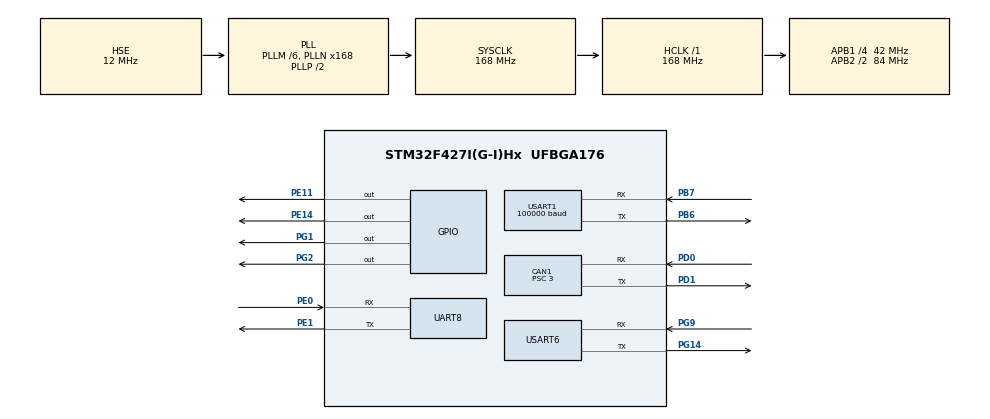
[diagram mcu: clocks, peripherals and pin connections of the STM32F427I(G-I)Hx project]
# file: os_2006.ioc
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CAN1.BS1=CAN_BS1_9TQ
CAN1.BS2=CAN_BS2_4TQ
CAN1.CalculateTimeQuantum=71.42857142857143
CAN1.Prescaler=3
Dma.Request0=USART1_RX
Dma.USART1_RX.0.Direction=DMA_PERIPH_TO_MEMORY
Dma.USART1_RX.0.FIFOMode=DMA_FIFOMODE_DISABLE
Dma.USART1_RX.0.Instance=DMA2_Stream2
Dma.USART1_RX.0.MemDataAlignment=DMA_MDATAALIGN_BYTE
Dma.USART1_RX.0.MemInc=DMA_MINC_ENABLE
Dma.USART1_RX.0.Mode=DMA_CIRCULAR
Dma.USART1_RX.0.PeriphDataAlignment=DMA_PDATAALIGN_BYTE
Dma.USART1_RX.0.PeriphInc=DMA_PINC_DISABLE
Dma.USART1_RX.0.Priority=DMA_PRIORITY_LOW
FREERTOS.Tasks01=defaultTask,-3,128,StartDefaultTask,Default,NULL,Dynamic,NULL,NULL;my2060Task1,-3,128,Start2060Task1,Default,NULL,Dynamic,NULL,NULL;my2060Task2,-3,128,Start2060Task2,Default,NULL,Dynamic,NULL,NULL
Mcu.Family=STM32F4
Mcu.Name=STM32F427I(G-I)Hx
Mcu.Package=UFBGA176
NVIC.CAN1_RX0_IRQn=true\:0\:0\:false\:false\:true\:true\:true\:true
NVIC.DMA2_Stream2_IRQn=true\:0\:0\:false\:false\:true\:true\:false\:true
NVIC.PriorityGroup=NVIC_PRIORITYGROUP_2
NVIC.TIM1_BRK_TIM9_IRQn=true\:0\:0\:false\:false\:true\:false\:false\:true
NVIC.TimeBase=TIM1_BRK_TIM9_IRQn
NVIC.TimeBaseIP=TIM9
NVIC.USART1_IRQn=true\:0\:0\:false\:false\:true\:true\:true\:true
NVIC.USART6_IRQn=true\:0\:0\:false\:false\:true\:true\:true\:true
PB6.Mode=Asynchronous
PB6.Signal=USART1_TX
PB7.Mode=Asynchronous
PB7.Signal=USART1_RX
PD0.Mode=Master
PD0.Signal=CAN1_RX
PD1.Mode=Master
PD1.Signal=CAN1_TX
PE0.Mode=Asynchronous
PE0.Signal=UART8_RX
PE1.Mode=Asynchronous
PE1.Signal=UART8_TX
PE11.Signal=GPIO_Output
PE14.Signal=GPIO_Output
PG1.Signal=GPIO_Output
PG14.Mode=Asynchronous
PG14.Signal=USART6_TX
PG2.Signal=GPIO_Output
PG9.Mode=Asynchronous
PG9.Signal=USART6_RX
PH0/OSC_IN.Mode=HSE-External-Oscillator
PH0/OSC_IN.Signal=RCC_OSC_IN
PH1/OSC_OUT.Mode=HSE-External-Oscillator
PH1/OSC_OUT.Signal=RCC_OSC_OUT
ProjectManager.HeapSize=0x200
ProjectManager.StackSize=0x400
ProjectManager.TargetToolchain=MDK-ARM V5.27
RCC.48MHZClocksFreq_Value=84000000
RCC.AHBFreq_Value=168000000
RCC.APB1CLKDivider=RCC_HCLK_DIV4
RCC.APB1Freq_Value=42000000
RCC.APB1TimFreq_Value=84000000
RCC.APB2CLKDivider=RCC_HCLK_DIV2
RCC.APB2Freq_Value=84000000
RCC.APB2TimFreq_Value=168000000
RCC.CortexFreq_Value=168000000
RCC.HCLKFreq_Value=168000000
RCC.HSE_VALUE=12000000
RCC.HSI_VALUE=16000000
RCC.LSE_VALUE=32768
RCC.PLLM=6
RCC.PLLN=168
RCC.PLLSourceVirtual=RCC_PLLSOURCE_HSE
RCC.SYSCLKFreq_VALUE=168000000
RCC.SYSCLKSource=RCC_SYSCLKSOURCE_PLLCLK
RCC.VCOOutputFreq_Value=336000000
UART8.VirtualMode=Asynchronous
USART1.BaudRate=100000
USART1.Parity=PARITY_EVEN
USART1.VirtualMode=VM_ASYNC
USART6.VirtualMode=VM_ASYNC
VP_FREERTOS_VS_CMSIS_V1.Mode=CMSIS_V1
VP_SYS_VS_tim9.Mode=TIM9
board=custom

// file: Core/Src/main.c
/* USER CODE BEGIN Header */
/**
  ******************************************************************************
  * @file           : main.c
  * @brief          : Main program body
  ******************************************************************************
  * @attention
  *
  * <h2><center>&copy; Copyright (c) 2020 STMicroelectronics.
  * All rights reserved.</center></h2>
  *
  * This software component is licensed by ST under Ultimate Liberty license
  * SLA0044, the "License"; You may not use this file except in compliance with
  * the License. You may obtain a copy of the License at:
  *                             www.st.com/SLA0044
  *
  ******************************************************************************
  */
/* USER CODE END Header */
#include "main.h"
#include "cmsis_os.h"
#include "can.h"
#include "dma.h"
#include "usart.h"
#include "gpio.h"

/* USER CODE BEGIN Includes */
#include "bsp_can.h"
#include "bsp_rc.h"
#include "stdio.h"
#include "pid.h"
#include "freertos.h"
#include "bsp_imu_data_decode.h"
#include "bsp_packet.h"

/* USER CODE END Includes */

/* USER CODE BEGIN PTD */

pid_struct_t motor_pid2_6020 = {0}; //6020旋转角度PID
pid_struct_t motor_pid4_6020 = {0}; //6020旋转角度PID
pid_struct_t motor_pid1_6623 = {0}; //6020旋转角度PID
pid_struct_t motor_pid2_6623 = {0}; //6020旋转角度PID

extern uint8_t ch;  //串口6接收陀螺仪数据中断

/* USER CODE END PTD */

void SystemClock_Config(void);
void MX_FREERTOS_Init(void);

int main(void)
{

  /* MCU Configuration--------------------------------------------------------*/

  /* Reset of all peripherals, Initializes the Flash interface and the Systick. */
  HAL_Init();

  /* Configure the system clock */
  SystemClock_Config();

  /* Initialize all configured peripherals */
  MX_GPIO_Init();
  MX_DMA_Init();
  MX_USART6_UART_Init();
  MX_USART1_UART_Init();
  MX_CAN1_Init();
  MX_UART8_Init();
  /* USER CODE BEGIN 2 */
  can_user_init(&hcan1);
  dbus_uart_init();
  imu_data_decode_init();                       //映射解析函数
  HAL_UART_Receive_IT(&huart6,&ch,sizeof(ch));  //初始化串口接收中断

  //初始化PID'
    pid_init(&motor_pid2_6020, 420, 0, 0, 30000, 30000);
	pid_init(&motor_pid4_6020, 55, 0, 0, 30000, 30000);

	pid_init(&motor_pid1_6623, 220, 0, 0, 5000, 5000);
	pid_init(&motor_pid2_6623, 125, 0, 0, 1000, 5000);
  /* USER CODE END 2 */

  /* Call init function for freertos objects (in freertos.c) */
  MX_FREERTOS_Init();
  /* Start scheduler */
  osKernelStart();

  /* We should never get here as control is now taken by the scheduler */
  /* Infinite loop */
  while (1)
  {

  }
}

void SystemClock_Config(void)
{
  RCC_OscInitTypeDef RCC_OscInitStruct = {0};
  RCC_ClkInitTypeDef RCC_ClkInitStruct = {0};

  /** Configure the main internal regulator output voltage
  */
  __HAL_RCC_PWR_CLK_ENABLE();
  __HAL_PWR_VOLTAGESCALING_CONFIG(PWR_REGULATOR_VOLTAGE_SCALE1);
  /** Initializes the RCC Oscillators according to the specified parameters
  * in the RCC_OscInitTypeDef structure.
  */
  RCC_OscInitStruct.OscillatorType = RCC_OSCILLATORTYPE_HSE;
  RCC_OscInitStruct.HSEState = RCC_HSE_ON;
  RCC_OscInitStruct.PLL.PLLState = RCC_PLL_ON;
  RCC_OscInitStruct.PLL.PLLSource = RCC_PLLSOURCE_HSE;
  RCC_OscInitStruct.PLL.PLLM = 6;
  RCC_OscInitStruct.PLL.PLLN = 168;
  RCC_OscInitStruct.PLL.PLLP = RCC_PLLP_DIV2;
  RCC_OscInitStruct.PLL.PLLQ = 4;
  if (HAL_RCC_OscConfig(&RCC_OscInitStruct) != HAL_OK)
  {
    Error_Handler();
  }
  /** Initializes the CPU, AHB and APB buses clocks
  */
  RCC_ClkInitStruct.ClockType = RCC_CLOCKTYPE_HCLK|RCC_CLOCKTYPE_SYSCLK
                              |RCC_CLOCKTYPE_PCLK1|RCC_CLOCKTYPE_PCLK2;
  RCC_ClkInitStruct.SYSCLKSource = RCC_SYSCLKSOURCE_PLLCLK;
  RCC_ClkInitStruct.AHBCLKDivider = RCC_SYSCLK_DIV1;
  RCC_ClkInitStruct.APB1CLKDivider = RCC_HCLK_DIV4;
  RCC_ClkInitStruct.APB2CLKDivider = RCC_HCLK_DIV2;

  if (HAL_RCC_ClockConfig(&RCC_ClkInitStruct, FLASH_LATENCY_5) != HAL_OK)
  {
    Error_Handler();
  }
}

void HAL_TIM_PeriodElapsedCallback(TIM_HandleTypeDef *htim)
{
  if (htim->Instance == TIM9) {
    HAL_IncTick();
  }
}

void Error_Handler(void)
{
}

/************************ (C) COPYRIGHT STMicroelectronics *****END OF FILE****/

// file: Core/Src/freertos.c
/* USER CODE BEGIN Header */
/**
  ******************************************************************************
  * File Name          : freertos.c
  * Description        : Code for freertos applications
  ******************************************************************************
  * @attention
  *
  * <h2><center>&copy; Copyright (c) 2020 STMicroelectronics.
  * All rights reserved.</center></h2>
  *
  * This software component is licensed by ST under Ultimate Liberty license
  * SLA0044, the "License"; You may not use this file except in compliance with
  * the License. You may obtain a copy of the License at:
  *                             www.st.com/SLA0044
  *
  ******************************************************************************
  */
/* USER CODE END Header */

#include "FreeRTOS.h"
#include "task.h"
#include "main.h"
#include "cmsis_os.h"

/* USER CODE BEGIN Includes */
#include "stdio.h"
#include "bsp_can.h"
#include "bsp_rc.h"
#include "pid.h"

/* USER CODE END Includes */

/* USER CODE BEGIN PTD */

extern UART_HandleTypeDef huart8;
extern UART_HandleTypeDef huart6;

extern rc_info_t rc;
char buf[200];

extern pid_struct_t motor_pid2_6020; //6020旋转角度PID
extern pid_struct_t motor_pid4_6020; //6020旋转角度PID
extern pid_struct_t motor_pid1_6623; //6623旋转角度PID
extern pid_struct_t motor_pid2_6623; //6623旋转角度PID

float target_angle_yaw_6020   = 0.0f; //云台角度
float target_angle_pitch_6020 = 0.0f;
float target_angle_yaw_6623   = 200.0f; //云台角度
float target_angle_pitch_6623 = 180.0f;

extern moto_info_6623 motor_info_6623_1;
extern moto_info_6623 motor_info_6623_2;
extern moto_info_6020 motor_info_6020_4;
extern moto_info_6020 motor_info_6020_2;

extern float roll_angle_gyroscope;
extern float pitch_angle_gyroscope;
extern float yaw_angle_gyroscope;

/* USER CODE END PTD */

osThreadId defaultTaskHandle;
osThreadId my2060Task1Handle;
osThreadId my2060Task2Handle;

void StartDefaultTask(void const * argument);
void Start2060Task1(void const * argument);
void Start2060Task2(void const * argument);

void MX_FREERTOS_Init(void); /* (MISRA C 2004 rule 8.1) */

/* GetIdleTaskMemory prototype (linked to static allocation support) */
void vApplicationGetIdleTaskMemory( StaticTask_t **ppxIdleTaskTCBBuffer, StackType_t **ppxIdleTaskStackBuffer, uint32_t *pulIdleTaskStackSize );

/* USER CODE BEGIN GET_IDLE_TASK_MEMORY */
static StaticTask_t xIdleTaskTCBBuffer;
static StackType_t xIdleStack[configMINIMAL_STACK_SIZE];

void vApplicationGetIdleTaskMemory( StaticTask_t **ppxIdleTaskTCBBuffer, StackType_t **ppxIdleTaskStackBuffer, uint32_t *pulIdleTaskStackSize )
{
  *ppxIdleTaskTCBBuffer = &xIdleTaskTCBBuffer;
  *ppxIdleTaskStackBuffer = &xIdleStack[0];
  *pulIdleTaskStackSize = configMINIMAL_STACK_SIZE;
  /* place for user code */
}
/* USER CODE END GET_IDLE_TASK_MEMORY */

void MX_FREERTOS_Init(void) {

  /* Create the thread(s) */
  /* definition and creation of defaultTask */
  osThreadDef(defaultTask, StartDefaultTask, osPriorityIdle, 0, 128);
  defaultTaskHandle = osThreadCreate(osThread(defaultTask), NULL);

  /* definition and creation of my2060Task1 */
  osThreadDef(my2060Task1, Start2060Task1, osPriorityIdle, 0, 128);
  my2060Task1Handle = osThreadCreate(osThread(my2060Task1), NULL);

  /* definition and creation of my2060Task2 */
  osThreadDef(my2060Task2, Start2060Task2, osPriorityIdle, 0, 128);
  my2060Task2Handle = osThreadCreate(osThread(my2060Task2), NULL);

}

void StartDefaultTask(void const * argument)
{
  /* USER CODE BEGIN StartDefaultTask */
  /* Infinite loop */
  for(;;)
  {
	  sprintf(buf, "CH1: %4d  CH2: %4d  CH3: %4d  CH4: %4d  SW1: %1d  SW2: %1d \r\n", rc.ch1, rc.ch2, rc.ch3, rc.ch4, rc.sw1, rc.sw2);
	  HAL_UART_Transmit(&huart6, (uint8_t *)buf, (COUNTOF(buf) - 1), 55);

//	  printf("R:%4.2f  P:%4.2f  Y:%4.2f\r\n", roll_angle_gyroscope,  pitch_angle_gyroscope,  yaw_angle_gyroscope);

	  osDelay(5);
  }
  /* USER CODE END StartDefaultTask */
}

void Start2060Task1(void const * argument)
{
  /* USER CODE BEGIN Start2060Task1 */
  /* Infinite loop */
  for(;;)
  {

	  if(rc.sw1 == 1 && rc.sw2 == 1){
		  if(yaw_angle_gyroscope < 0){
			  yaw_angle_gyroscope = 360 + yaw_angle_gyroscope;
		  }
		  yaw_angle_gyroscope = yaw_angle_gyroscope>300 ? 300 : (yaw_angle_gyroscope<220 ? 220: yaw_angle_gyroscope);
		  motor_info_6623_1.set_current = pid_calc(&motor_pid1_6623, yaw_angle_gyroscope, motor_info_6623_1.rotor_angle);
		  set_motor_voltage(-motor_info_6623_1.set_current,0x0000,0x0000,0x0000);
	  }

	  /* 6623云台控制程序 */
//	  if(rc.sw1 == 1 && rc.sw2 == 1){
//
//		  target_angle_yaw_6623 += rc.ch1 * 0.0005;
//		  target_angle_yaw_6623 = target_angle_yaw_6623>300 ? 300 : (target_angle_yaw_6623<220 ? 220: target_angle_yaw_6623);
//		  motor_info_6623_1.set_current = pid_calc(&motor_pid1_6623, target_angle_yaw_6623, motor_info_6623_1.rotor_angle);
//
//		  target_angle_pitch_6623 += rc.ch4 *0.0005;
//		  target_angle_pitch_6623 = target_angle_pitch_6623>200 ? 200 :(target_angle_pitch_6623<160 ? 160 :target_angle_pitch_6623);
//		  motor_info_6623_2.set_current = pid_calc(&motor_pid2_6623, target_angle_pitch_6623, motor_info_6623_2.rotor_angle);
//
//		  //set_motor_voltage(0x0000,-motor_info_6623_2.set_current,0x0000,0x0000);
//		  set_motor_voltage(-motor_info_6623_1.set_current,-motor_info_6623_2.set_current,0x0000,0x0000);
//
//	  }

	  osDelay(5);
  }
  /* USER CODE END Start2060Task1 */
}

void Start2060Task2(void const * argument)
{
  /* USER CODE BEGIN Start2060Task2 */
  /* Infinite loop */
  for(;;)
  {
	/* 6020云台控制程序 */
//	  if(rc.sw1 == 1 && rc.sw2 == 1){
//
//		  target_angle_yaw_6020 += rc.ch1 * 0.005;
//		  target_angle_yaw_6020 = target_angle_yaw_6020>180 ? 180 : (target_angle_yaw_6020<0 ? 0 : target_angle_yaw_6020);
//		  motor_info_6020_4.set_voltage = pid_calc(&motor_rotate4_6020, target_angle_yaw_6020, motor_info_6020_4.rotor_angle);
//
//		  target_angle_pitch_6020 += rc.ch4 * 0.005;
//		  target_angle_pitch_6020 = target_angle_pitch_6020>250 ? 250 : (target_angle_pitch_6020<180 ? 180: target_angle_pitch_6020);
//		  motor_info_6020_2.set_voltage = pid_calc(&motor_rotate2_6020, target_angle_pitch_6020, motor_info_6020_2.rotor_angle);
//
//		  set_motor_voltage(0x0000,motor_info_6020_2.set_voltage,0x0000,motor_info_6020_4.set_voltage);
//
//	  }
	  osDelay(5);

  }
  /* USER CODE END Start2060Task2 */
}

/************************ (C) COPYRIGHT STMicroelectronics *****END OF FILE****/
